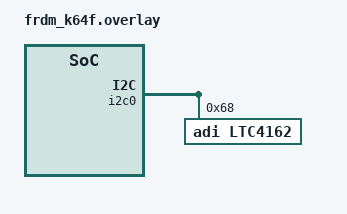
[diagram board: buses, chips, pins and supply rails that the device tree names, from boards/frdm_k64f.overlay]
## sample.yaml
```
sample:
  description: Demonstration of the LTC4162 I2C battery Charger
  name: LTC4162 Sample
tests:
  sample.sensor.ltc4162:
    harness: console
    tags: sensors
    depends_on: i2c ltc4162
    harness_config:
        type: multi_line
        ordered: yes
        regex:
            - "Charger_status: (.*)"
            - "Charger_type: (.*)"
            - "Charger_health: (.*)"
            - "Input Voltage in Volt: (.*)"
            - "Input Current in Amps: (.*)"
            - "Constant current in Amps: (.*)"
            - "Constant current max in Amps: (.*)"
            - "Constant voltage in Volt: (.*)"
            - "Constant voltage max in Volt: (.*)"
            - "Input current limit in Amps: (.*)"
            - "Charger die temperature in Celsius: (.*)"
        fixture: fixture_i2c_ltc4162
```

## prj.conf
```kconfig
CONFIG_STDOUT_CONSOLE=y
CONFIG_I2C=y
CONFIG_SENSOR=y
CONFIG_LTC4162=y
CONFIG_CBPRINTF_FP_SUPPORT=y
```

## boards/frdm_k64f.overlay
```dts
/*
 * Copyright (c) 2021 Linumiz
 *
 * SPDX-License-Identifier: Apache-2.0
 */

&i2c0 {
	ltc4162@68 {
		compatible = "adi,ltc4162";
		reg = <0x68>;
		label = "LTC4162";
		rsnsb-micro-ohms = <10>;
		rsnsi-micro-ohms = <10>;
		cell-count = <2>;
	};
};
```

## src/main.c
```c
/*
 * Copyright (c) 2021 Linumiz
 *
 * SPDX-License-Identifier: Apache-2.0
 */

#include <zephyr.h>
#include <device.h>
#include <drivers/sensor.h>
#include <sys/printk.h>

static const char *get_charger_status(enum charger_status value)
{
	switch (value) {
	case CHARGER_STATUS_CHARGING:
		return "charging";
	case CHARGER_STATUS_NOT_CHARGING:
		return "not charging";
	case CHARGER_STATUS_UNKNOWN:
		return "unknown";
	default:
		return NULL;
	}
}

static const char *get_charger_type(enum charge_type type)
{
	switch (type) {
	case CHARGER_CHARGE_TYPE_NONE:
		return "not known";
	case CHARGER_CHARGE_TYPE_FAST:
		return "fast";
	case CHARGER_CHARGE_TYPE_TRICKLE:
		return "trickle";
	default:
		return NULL;
	}
}

static const char *get_charger_health(enum charger_health health)
{
	switch (health) {
	case CHARGER_HEALTH_UNSPEC_FAILURE:
		return "unspec failure";
	case CHARGER_HEALTH_DEAD:
		return "dead";
	case CHARGER_HEALTH_GOOD:
		return "good";
	default:
		return NULL;
	}
}

static void ltc4162_show_values(const char *type, struct sensor_value value)
{
	if ((value.val2 < 0) && (value.val1 >= 0)) {
		value.val2 = -(value.val2);
		printk("%s: -%d.%06d\n", type, value.val1, value.val2);
	} else if ((value.val2 > 0) && (value.val1 < 0)) {
		printk("%s: %d.%06d\n", type, value.val1, value.val2);
	} else if ((value.val2 < 0) && (value.val1 < 0)) {
		value.val2 = -(value.val2);
		printk("%s: %d.%06d\n", type, value.val1, value.val2);
	} else {
		printk("%s: %d.%06d\n", type, value.val1, value.val2);
	}
}

static void process_sample(const struct device *dev)
{
	const char *charger_status, *charger_type, *charger_health;
	struct sensor_value chrg_status, chrg_type,
	       input_current_limit, charger_temperature,
	       const_chrg_current, const_chrg_current_max,
	       chrg_health, input_voltage, input_current,
	       const_chrg_voltage, const_chrg_voltage_max;

	if (sensor_sample_fetch_chan(dev, SENSOR_CHAN_CHARGER_STATUS) < 0) {
		printk("Failed to fetch charger status\n");
		return;
	}

	if (sensor_channel_get(dev, SENSOR_CHAN_CHARGER_STATUS,
			       &chrg_status) < 0) {
		printk("Can't read LTC4162 Charger Status channel\n");
		return;
	}

	charger_status = get_charger_status(chrg_status.val1);
	printk("Charger_status: %s\n", charger_status);

	if (sensor_sample_fetch_chan(dev, SENSOR_CHAN_CHARGER_TYPE) < 0) {
		printk("Failed to fetch charger type\n");
		return;
	}

	if (sensor_channel_get(dev, SENSOR_CHAN_CHARGER_TYPE,
			       &chrg_type) < 0) {
		printk("Can't read LTC4162 Charger type channel\n");
		return;
	}

	charger_type = get_charger_type(chrg_type.val1);
	printk("Charger_type: %s\n", charger_type);

	if (sensor_sample_fetch_chan(dev, SENSOR_CHAN_CHARGER_HEALTH) < 0) {
		printk("Failed to fetch charger health\n");
		return;
	}

	if (sensor_channel_get(dev, SENSOR_CHAN_CHARGER_HEALTH,
			       &chrg_health) < 0) {
		printk("Can't read LTC4162 Charger health channel\n");
		return;
	}

	charger_health = get_charger_health(chrg_health.val1);
	printk("Charger_health: %s\n", charger_health);

	if (sensor_sample_fetch_chan(dev,
			SENSOR_CHAN_CHARGER_INPUT_VOLTAGE) < 0) {
		printk("Failed to fetch input voltage\n");
		return;
	}

	if (sensor_channel_get(dev, SENSOR_CHAN_CHARGER_INPUT_VOLTAGE,
			       &input_voltage) < 0) {
		printk("Can't read LTC4162 Charger Input Voltage\n");
		return;
	}

	ltc4162_show_values("Input Voltage in Volt", input_voltage);

	if (sensor_sample_fetch_chan(dev,
			SENSOR_CHAN_CHARGER_INPUT_CURRENT) < 0) {
		printk("Failed to fetch input current\n");
		return;
	}

	if (sensor_channel_get(dev, SENSOR_CHAN_CHARGER_INPUT_CURRENT,
			       &input_current) < 0) {
		printk("Can't read LTC4162 Charger Input current\n");
		return;
	}

	ltc4162_show_values("Input Current in Amps", input_current);

	if (sensor_sample_fetch_chan(dev,
			SENSOR_CHAN_CHARGER_CONSTANT_CHARGE_CURRENT) < 0) {
		printk("Failed to fetch constant charge current\n");
		return;
	}

	if (sensor_channel_get(dev,
			SENSOR_CHAN_CHARGER_CONSTANT_CHARGE_CURRENT, &const_chrg_current) < 0) {
		printk("Can't read LTC4162 constant charge current\n");
	}

	ltc4162_show_values("Constant current in Amps", const_chrg_current);

	if (sensor_sample_fetch_chan(dev,
			SENSOR_CHAN_CHARGER_CONSTANT_CHARGE_CURRENT_MAX) < 0) {
		printk("Failed to fetch constant charge current max\n");
		return;
	}

	if (sensor_channel_get(dev, SENSOR_CHAN_CHARGER_CONSTANT_CHARGE_CURRENT_MAX,
			       &const_chrg_current_max) < 0) {
		printk("Can't read LTC4162 constant charge current max\n");
		return;
	}

	ltc4162_show_values("Constant current max in Amps", const_chrg_current_max);


	if (sensor_sample_fetch_chan(dev,
			SENSOR_CHAN_CHARGER_CONSTANT_CHARGE_VOLTAGE) < 0) {
		printk("Failed to fetch constant charge voltage\n");
		return;
	}

	if (sensor_channel_get(dev, SENSOR_CHAN_CHARGER_CONSTANT_CHARGE_VOLTAGE,
			       &const_chrg_voltage) < 0) {
		printk("Can't read LTC4162 const charge voltage\n");
		return;
	}

	ltc4162_show_values("Constant voltage in Volt", const_chrg_voltage);

	if (sensor_sample_fetch_chan(dev,
			SENSOR_CHAN_CHARGER_CONSTANT_CHARGE_VOLTAGE_MAX) < 0) {
		printk("Failed to fetch constant charge voltage max\n");
		return;
	}

	if (sensor_channel_get(dev,
			       SENSOR_CHAN_CHARGER_CONSTANT_CHARGE_VOLTAGE_MAX,
			       &const_chrg_voltage_max) < 0) {
		printk("Can't read LTC4162 const charge voltage max\n");
	}

	ltc4162_show_values("Constant voltage max in Volt", const_chrg_voltage_max);

	if (sensor_sample_fetch_chan(dev,
			SENSOR_CHAN_CHARGER_INPUT_CURRENT_LIMIT) < 0) {
		printk("Failed to fetch input current limit\n");
		return;
	}

	if (sensor_channel_get(dev, SENSOR_CHAN_CHARGER_INPUT_CURRENT_LIMIT,
			       &input_current_limit) < 0) {
		printk("Can't read LTC4162 input current limit\n");
	}

	ltc4162_show_values("Input current limit in Amps", input_current_limit);

	if (sensor_sample_fetch_chan(dev,
			SENSOR_CHAN_CHARGER_TEMPERATURE) < 0) {
		printk("Failed to fetch charger temperature\n");
		return;
	}

	if (sensor_channel_get(dev, SENSOR_CHAN_CHARGER_TEMPERATURE,
			       &charger_temperature) < 0) {
		printk("Can't read LTC4162 Charger temperature\n");
		return;
	}

	ltc4162_show_values("Charger die temperature in Celsius", charger_temperature);

	printk("\n");
}

void main(void)
{
	int ret;
	struct sensor_value chrg_prop;
	const struct device *dev = device_get_binding("LTC4162");

	if (dev == NULL) {
		printk("No device found...\n");
		return;
	}

	chrg_prop.val1 = 3;
	chrg_prop.val2 = 0;

	/** Set constant charge current max. range: 0 - 31 **/
	ret = sensor_attr_set(dev, SENSOR_CHAN_CHARGER_CONSTANT_CHARGE_CURRENT_MAX,
			      0, &chrg_prop);
	if (ret < 0) {
		printk("Failed to update charge current max\n");
		return;
	}

	chrg_prop.val1 = 60;
	chrg_prop.val2 = 0;

	/** set charger input current limit. range: 0 - 63 **/
	ret = sensor_attr_set(dev, SENSOR_CHAN_CHARGER_INPUT_CURRENT_LIMIT,
			      0, &chrg_prop);
	if (ret < 0) {
		printk("Failed to update the input current limit\n");
		return;
	}

	while (1) {
		process_sample(dev);
		k_sleep(K_MSEC(2000));
	}
}
```
